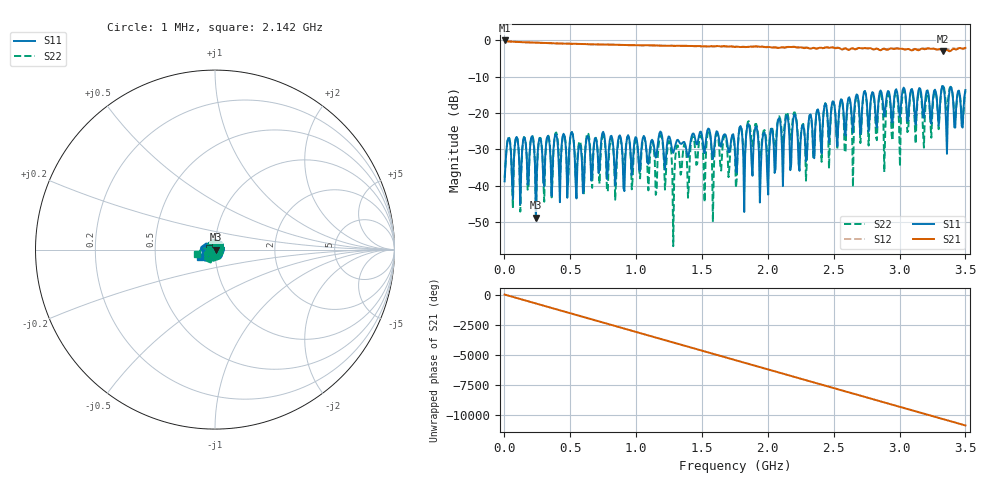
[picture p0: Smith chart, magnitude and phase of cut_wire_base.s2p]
# GHZ S RI R 50.000000000000
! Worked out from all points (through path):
!   501 points, 1 MHz to 3.5 GHz, reference 50 ohm
!   highest |S21| = -0.02 dB at 1 MHz (marker M1); lowest = -3.0 dB at 3.332 GHz (marker M2)
!   group delay of S21, straight-line fit = 8.65 ns
!   lowest |S11| = -48.8 dB at 238.9 MHz (marker M3), VSWR 1.01, Z = 50.4 + j0.00122 ohm
!   |S11| at or under -10 dB: start of sweep to end of sweep
!   |S22| runs from -56.7 to -12.3 dB; largest |S21 - S12| = 0.046
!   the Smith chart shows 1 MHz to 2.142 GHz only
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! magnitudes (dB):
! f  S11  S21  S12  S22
! 1 MHz  -38.8  0.0  0.0  -37.8
! 210.9 MHz  -26.4  -0.6  -0.6  -26.2
! 238.9 MHz  -48.8  -0.6  -0.6  -49.5
! 511.9 MHz  -25.2  -0.9  -0.9  -25.3
! 588.8 MHz  -33.7  -1.0  -1.0  -32.3
! 630.8 MHz  -26.3  -1.1  -1.0  -25.5
! 910.7 MHz  -41.5  -1.3  -1.3  -35.5
! 1.17 GHz  -26.9  -1.4  -1.4  -29.1
! 1.254 GHz  -26.6  -1.5  -1.5  -27.8
! 1.282 GHz  -31.0  -1.5  -1.5  -56.7
! 1.429 GHz  -25.7  -1.5  -1.6  -26.5
! 1.75 GHz  -30.1  -1.8  -1.7  -31.5
! 1.855 GHz  -23.1  -1.8  -1.7  -22.2
! 1.946 GHz  -35.6  -1.7  -1.6  -31.8
! 2.086 GHz  -21.4  -2.0  -2.0  -20.9
! 2.338 GHz  -24.8  -2.1  -2.1  -25.3
! 2.737 GHz  -13.9  -2.1  -2.1  -14.1
! 2.884 GHz  -21.0  -2.3  -2.4  -36.2
! 2.919 GHz  -14.1  -2.4  -2.2  -14.9
! 3.185 GHz  -21.3  -2.4  -2.3  -29.5
! 3.332 GHz  -12.7  -3.0  -2.7  -12.3
! 3.5 GHz  -13.7  -2.0  -2.2  -13.9
